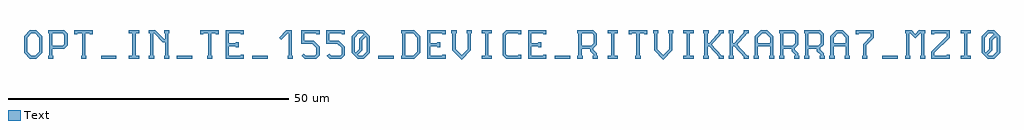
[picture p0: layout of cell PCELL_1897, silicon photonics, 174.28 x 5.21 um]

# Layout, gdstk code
import gdstk
lib = gdstk.Library(unit=1e-6, precision=1e-09)
def R(c, l, rs):  # rectangles x0, y0, x1, y1
    for r in rs: c.add(gdstk.rectangle(r[:2], r[2:], *l))
def A(c, l, x, y, w, h, nx, ny, dx, dy):  # array of equal rectangles
    R(c, l, [(x+i*dx, y+j*dy, x+i*dx+w, y+j*dy+h) for i in range(nx) for j in range(ny)])
def P(c, l, *ps):  # polygons
    for p in ps: c.add(gdstk.Polygon(p, *l))
Text = (10, 0)

pcell_1897 = lib.new_cell('PCELL_1897')
A(pcell_1897, Text, -73.75, -5.275, 2.727, 0.55, 3, 1, 13.5, 0)
A(pcell_1897, Text, 33.795, -5.275, 0.91, 0.55, 6, 1, 4.5, 0)
A(pcell_1897, Text, 36.523, -5.275, 0.909, 0.55, 6, 1, 4.5, 0)
R(pcell_1897, Text, [(-83.205,-5.275,-82.295,-4.725), (-77.341,-5.275,-76.432,-4.725), (-68.795,-5.275,-66.977,-4.725), (-65.205,-5.275,-64.295,-4.725), (-62.477,-5.275,-61.568,-4.725), (-54.841,-5.275,-53.932,-4.725), (-40.432,-5.275,-39.523,-4.725), (-24.25,-5.275,-21.523,-4.725), (-5.795,-5.275,-3.977,-4.725), (7.25,-5.275,9.977,-4.725), (11.295,-5.275,12.205,-4.725), (14.023,-5.275,14.932,-4.725), (16.705,-5.275,18.523,-4.725), (21.659,-5.275,22.568,-4.725), (30.205,-5.275,32.023,-4.725), (62.159,-5.275,63.068,-4.725), (65.75,-5.275,68.477,-4.725), (69.795,-5.275,70.705,-4.725), (72.523,-5.275,73.432,-4.725), (79.705,-5.275,81.523,-4.725), (-83.025,-5,-82.475,-0.455), (-77.161,-5,-76.611,-0.455), (-68.161,-5,-67.611,-0.455), (-65.025,-5,-64.475,-0.455), (-62.298,-5,-61.748,-0.455), (-54.661,-5,-54.111,-0.455), (-20.025,-5,-19.475,-0.455), (-5.161,-5,-4.611,-0.455), (11.475,-5,12.025,-0.455), (17.339,-5,17.889,-0.455), (21.839,-5,22.389,-0.455), (30.839,-5,31.389,-0.455), (33.975,-5,34.525,-0.455), (38.475,-5,39.025,-0.455), (47.475,-5,48.025,-0.455), (51.975,-5,52.525,-0.455), (69.975,-5,70.525,-0.455), (72.702,-5,73.252,-0.455), (80.339,-5,80.889,-0.455), (-49.707,-3.182,-49.157,-2.273), (-13.707,-3.182,-13.157,-2.273), (4.293,-3.182,4.843,-2.273), (-51.25,-3.002,-49.432,-2.452), (-15.25,-3.002,-13.432,-2.452), (2.75,-3.002,4.568,-2.452), (43.25,-3.002,45.977,-2.452), (56.75,-3.002,59.477,-2.452), (-68.795,-0.73,-66.977,-0.18), (-62.477,-0.73,-61.568,-0.18), (-11.205,-0.73,-10.295,-0.18), (-8.477,-0.73,-7.568,-0.18), (-5.795,-0.73,-3.977,-0.18), (16.705,-0.73,18.523,-0.18), (24.795,-0.73,25.705,-0.18), (27.523,-0.73,28.432,-0.18), (30.205,-0.73,32.023,-0.18), (33.795,-0.73,34.705,-0.18), (36.523,-0.73,37.432,-0.18), (38.295,-0.73,39.205,-0.18), (41.023,-0.73,41.932,-0.18), (79.705,-0.73,81.523,-0.18)])
P(pcell_1897, Text, [(-87.525,-4.091),(-87.525,-1.25),(-86.455,-0.18),(-85.318,-0.18),(-84.248,-1.25),(-84.248,-3.182),(-84.798,-3.182),(-84.798,-1.478),(-85.546,-0.73),(-86.227,-0.73),(-86.975,-1.478),(-86.975,-4.091)],
  [(-84.248,-2.727),(-84.248,-4.205),(-85.318,-5.275),(-86.455,-5.275),(-87.525,-4.205),(-87.525,-1.364),(-86.975,-1.364),(-86.975,-3.977),(-86.227,-4.725),(-85.546,-4.725),(-84.798,-3.977),(-84.798,-2.727)],
  [(-83.205,-0.18),(-80.363,-0.18),(-79.748,-0.795),(-79.748,-2.841),(-80.363,-3.457),(-82.75,-3.457),(-82.75,-2.907),(-80.591,-2.907),(-80.298,-2.613),(-80.298,-1.023),(-80.591,-0.73),(-83.205,-0.73)],
  [(-78.525,-0.909),(-78.525,-0.18),(-75.248,-0.18),(-75.248,-0.909),(-75.798,-0.909),(-75.798,-0.73),(-77.975,-0.73),(-77.975,-0.909)],
  [(-65.205,-0.18),(-64.045,-0.18),(-62.5,-1.725),(-62.023,-1.725),(-62.023,-2.275),(-62.728,-2.275),(-64.273,-0.73),(-65.205,-0.73)],
  [(-56.025,-0.909),(-56.025,-0.18),(-52.748,-0.18),(-52.748,-0.909),(-53.298,-0.909),(-53.298,-0.73),(-55.475,-0.73),(-55.475,-0.909)],
  [(-48.248,-4.545),(-48.248,-5.275),(-51.525,-5.275),(-51.525,-0.18),(-48.248,-0.18),(-48.248,-0.909),(-48.798,-0.909),(-48.798,-0.73),(-50.975,-0.73),(-50.975,-4.725),(-48.798,-4.725),(-48.798,-4.545)],
  [(-41.99,-1.487),(-40.682,-0.18),(-39.702,-0.18),(-39.702,-5),(-40.252,-5),(-40.252,-0.73),(-40.454,-0.73),(-41.601,-1.876)],
  [(-35.298,-0.909),(-35.298,-0.73),(-37.475,-0.73),(-37.475,-1.998),(-35.818,-1.998),(-34.748,-3.068),(-34.748,-4.659),(-35.363,-5.275),(-37.409,-5.275),(-37.944,-4.74),(-37.556,-4.351),(-37.182,-4.725),(-35.591,-4.725),(-35.298,-4.432),(-35.298,-3.296),(-36.046,-2.548),(-38.025,-2.548),(-38.025,-0.18),(-34.748,-0.18),(-34.748,-0.909)],
  [(-30.798,-0.909),(-30.798,-0.73),(-32.975,-0.73),(-32.975,-1.998),(-31.318,-1.998),(-30.248,-3.068),(-30.248,-4.659),(-30.863,-5.275),(-32.909,-5.275),(-33.444,-4.74),(-33.056,-4.351),(-32.682,-4.725),(-31.091,-4.725),(-30.798,-4.432),(-30.798,-3.296),(-31.546,-2.548),(-33.525,-2.548),(-33.525,-0.18),(-30.248,-0.18),(-30.248,-0.909)],
  [(-27.386,-5.275),(-27.955,-5.275),(-29.025,-4.205),(-29.025,-1.25),(-27.955,-0.18),(-26.818,-0.18),(-25.748,-1.25),(-25.748,-3.182),(-26.298,-3.182),(-26.298,-1.478),(-27.046,-0.73),(-27.727,-0.73),(-28.475,-1.478),(-28.475,-3.977),(-27.727,-4.725),(-27.386,-4.725)],
  [(-25.748,-2.727),(-25.748,-4.205),(-26.818,-5.275),(-27.955,-5.275),(-29.025,-4.205),(-29.025,-2.727),(-28.475,-2.727),(-28.475,-3.977),(-27.727,-4.725),(-27.046,-4.725),(-26.298,-3.977),(-26.298,-2.727)],
  [(-28.49,-4.351),(-27.661,-3.522),(-27.661,-1.704),(-26.672,-0.715),(-26.283,-1.104),(-27.111,-1.932),(-27.111,-3.75),(-28.101,-4.74)],
  [(-20.205,-0.18),(-17.818,-0.18),(-16.748,-1.25),(-16.748,-4.205),(-17.818,-5.275),(-20.205,-5.275),(-20.205,-4.725),(-18.046,-4.725),(-17.298,-3.977),(-17.298,-1.478),(-18.046,-0.73),(-20.205,-0.73)],
  [(-12.248,-4.545),(-12.248,-5.275),(-15.525,-5.275),(-15.525,-0.18),(-12.248,-0.18),(-12.248,-0.909),(-12.798,-0.909),(-12.798,-0.73),(-14.975,-0.73),(-14.975,-4.725),(-12.798,-4.725),(-12.798,-4.545)],
  [(-10.475,-0.455),(-10.475,-3.522),(-9.386,-4.611),(-8.298,-3.522),(-8.298,-0.455),(-7.748,-0.455),(-7.748,-3.75),(-9.386,-5.389),(-11.025,-3.75),(-11.025,-0.455)],
  [(1.252,-4.545),(1.252,-5.275),(-1.409,-5.275),(-2.025,-4.659),(-2.025,-0.795),(-1.409,-0.18),(1.252,-0.18),(1.252,-0.909),(0.702,-0.909),(0.702,-0.73),(-1.182,-0.73),(-1.475,-1.023),(-1.475,-4.432),(-1.182,-4.725),(0.702,-4.725),(0.702,-4.545)],
  [(5.752,-4.545),(5.752,-5.275),(2.475,-5.275),(2.475,-0.18),(5.752,-0.18),(5.752,-0.909),(5.202,-0.909),(5.202,-0.73),(3.025,-0.73),(3.025,-4.725),(5.202,-4.725),(5.202,-4.545)],
  [(11.295,-0.18),(14.137,-0.18),(14.752,-0.795),(14.752,-2.705),(14,-3.457),(11.75,-3.457),(11.75,-2.907),(13.772,-2.907),(14.202,-2.477),(14.202,-1.023),(13.909,-0.73),(11.295,-0.73)],
  [(14.116,-3.182),(14.116,-3.659),(14.752,-4.295),(14.752,-5),(14.202,-5),(14.202,-4.523),(13.566,-3.887),(13.566,-3.182)],
  [(20.475,-0.909),(20.475,-0.18),(23.752,-0.18),(23.752,-0.909),(23.202,-0.909),(23.202,-0.73),(21.025,-0.73),(21.025,-0.909)],
  [(25.525,-0.455),(25.525,-3.522),(26.614,-4.611),(27.702,-3.522),(27.702,-0.455),(28.252,-0.455),(28.252,-3.75),(26.614,-5.389),(24.975,-3.75),(24.975,-0.455)],
  [(34.25,-2.452),(34.809,-2.452),(36.773,-0.271),(37.182,-0.639),(35.054,-3.002),(34.25,-3.002)],
  [(35.136,-2.543),(37.182,-4.816),(36.773,-5.184),(34.727,-2.911)],
  [(38.75,-2.452),(39.309,-2.452),(41.273,-0.271),(41.682,-0.639),(39.554,-3.002),(38.75,-3.002)],
  [(39.636,-2.543),(41.682,-4.816),(41.273,-5.184),(39.227,-2.911)],
  [(42.975,-5),(42.975,-1.25),(44.045,-0.18),(45.182,-0.18),(46.252,-1.25),(46.252,-5),(45.702,-5),(45.702,-1.478),(44.954,-0.73),(44.273,-0.73),(43.525,-1.478),(43.525,-5)],
  [(47.295,-0.18),(50.137,-0.18),(50.752,-0.795),(50.752,-2.705),(50,-3.457),(47.75,-3.457),(47.75,-2.907),(49.772,-2.907),(50.202,-2.477),(50.202,-1.023),(49.909,-0.73),(47.295,-0.73)],
  [(50.116,-3.182),(50.116,-3.659),(50.752,-4.295),(50.752,-5),(50.202,-5),(50.202,-4.523),(49.566,-3.887),(49.566,-3.182)],
  [(51.795,-0.18),(54.637,-0.18),(55.252,-0.795),(55.252,-2.705),(54.5,-3.457),(52.25,-3.457),(52.25,-2.907),(54.272,-2.907),(54.702,-2.477),(54.702,-1.023),(54.409,-0.73),(51.795,-0.73)],
  [(54.616,-3.182),(54.616,-3.659),(55.252,-4.295),(55.252,-5),(54.702,-5),(54.702,-4.523),(54.066,-3.887),(54.066,-3.182)],
  [(56.475,-5),(56.475,-1.25),(57.545,-0.18),(58.682,-0.18),(59.752,-1.25),(59.752,-5),(59.202,-5),(59.202,-1.478),(58.454,-0.73),(57.773,-0.73),(57.025,-1.478),(57.025,-5)],
  [(60.975,-0.909),(60.975,-0.18),(64.252,-0.18),(64.252,-1.478),(62.889,-2.841),(62.889,-5),(62.339,-5),(62.339,-2.613),(63.702,-1.25),(63.702,-0.73),(61.525,-0.73),(61.525,-0.909)],
  [(69.795,-0.18),(70.955,-0.18),(71.614,-0.838),(72.272,-0.18),(73.432,-0.18),(73.432,-0.73),(72.5,-0.73),(71.614,-1.616),(70.727,-0.73),(69.795,-0.73)],
  [(74.475,-0.909),(74.475,-0.18),(77.752,-0.18),(77.752,-1.478),(75.025,-4.205),(75.025,-4.725),(77.202,-4.725),(77.202,-4.545),(77.752,-4.545),(77.752,-5.275),(74.475,-5.275),(74.475,-3.977),(77.202,-1.25),(77.202,-0.73),(75.025,-0.73),(75.025,-0.909)],
  [(85.114,-5.275),(84.545,-5.275),(83.475,-4.205),(83.475,-1.25),(84.545,-0.18),(85.682,-0.18),(86.752,-1.25),(86.752,-3.182),(86.202,-3.182),(86.202,-1.478),(85.454,-0.73),(84.773,-0.73),(84.025,-1.478),(84.025,-3.977),(84.773,-4.725),(85.114,-4.725)],
  [(86.752,-2.727),(86.752,-4.205),(85.682,-5.275),(84.545,-5.275),(83.475,-4.205),(83.475,-2.727),(84.025,-2.727),(84.025,-3.977),(84.773,-4.725),(85.454,-4.725),(86.202,-3.977),(86.202,-2.727)],
  [(84.01,-4.351),(84.839,-3.522),(84.839,-1.704),(85.828,-0.715),(86.217,-1.104),(85.389,-1.932),(85.389,-3.75),(84.399,-4.74)])

lib.write_gds('PCELL_1897.gds')
